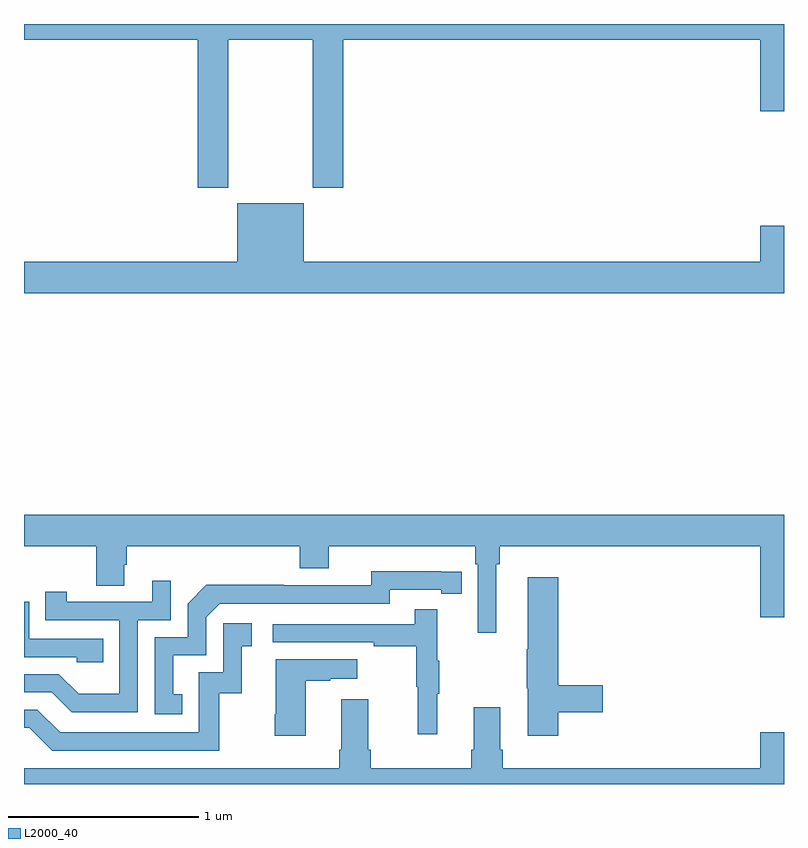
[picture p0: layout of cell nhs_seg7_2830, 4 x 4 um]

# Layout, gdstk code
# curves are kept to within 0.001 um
import gdstk
lib = gdstk.Library(unit=1e-6, precision=1e-09)
def P(c, l, *ps):  # polygons
    for p in ps: c.add(gdstk.Polygon(p, *l))
L2000_40 = (2000, 40)

nhs_seg7_2830 = lib.new_cell('nhs_seg7_2830')
P(nhs_seg7_2830, L2000_40, [(294.075,1033.916),(294.52,1033.916),(294.52,1033.137),(294.68,1033.137),(294.68,1033.916),(296.876,1033.916),(296.876,1033.542),(297,1033.542),(297,1034),(293,1034),(293,1033.916),(293.915,1033.916),(293.915,1033.137),(294.075,1033.137)],
  [(297,1032.937),(296.876,1032.937),(296.876,1032.748),(294.472,1032.748),(294.472,1033.057),(294.122,1033.057),(294.122,1032.748),(293,1032.748),(293,1032.584),(297,1032.584)],
  [(295.486,1031.156),(295.505,1031.156),(295.505,1031.252),(296.876,1031.252),(296.876,1030.878),(297,1030.878),(297,1031.416),(293,1031.416),(293,1031.252),(293.38,1031.252),(293.38,1031.044),(293.527,1031.044),(293.527,1031.154),(293.54,1031.154),(293.54,1031.252),(294.452,1031.252),(294.452,1031.135),(294.604,1031.135),(294.604,1031.252),(295.376,1031.252),(295.376,1031.156),(295.389,1031.156),(295.389,1030.797),(295.486,1030.797)],
  [(293.834,1030.473),(293.785,1030.473),(293.785,1030.677),(293.958,1030.677),(293.958,1030.878),(294.03,1030.95),(294.924,1030.95),(294.924,1031.022),(295.196,1031.022),(295.196,1031.002),(295.304,1031.002),(295.304,1031.118),(294.828,1031.119),(294.828,1031.046),(294.368,1031.046),(294.368,1031.048),(293.96,1031.048),(293.862,1030.95),(293.862,1030.773),(293.688,1030.773),(293.688,1030.368),(293.834,1030.368)],
  [(295.811,1030.378),(296.047,1030.378),(296.047,1030.52),(295.811,1030.52),(295.811,1031.089),(295.652,1031.089),(295.652,1030.709),(295.645,1030.709),(295.645,1030.503),(295.652,1030.503),(295.652,1030.254),(295.811,1030.254)],
  [(293.598,1030.863),(293.772,1030.863),(293.772,1031.071),(293.675,1031.071),(293.675,1030.959),(293.224,1030.959),(293.224,1031.011),(293.113,1031.011),(293.113,1030.863),(293.502,1030.863),(293.502,1030.474),(293.288,1030.474),(293.184,1030.578),(293,1030.578),(293,1030.482),(293.147,1030.482),(293.252,1030.377),(293.598,1030.377)],
  [(293.417,1030.764),(293.028,1030.764),(293.028,1030.959),(293,1030.959),(293,1030.668),(293.277,1030.668),(293.277,1030.641),(293.417,1030.641)],
  [(295.175,1030.475),(295.186,1030.475),(295.186,1030.649),(295.175,1030.649),(295.175,1030.921),(295.057,1030.921),(295.057,1030.842),(294.309,1030.842),(294.309,1030.746),(294.841,1030.746),(294.841,1030.726),(295.065,1030.726),(295.065,1030.512),(295.072,1030.512),(295.072,1030.263),(295.175,1030.263)],
  [(294.028,1030.478),(294.146,1030.478),(294.146,1030.725),(294.199,1030.725),(294.199,1030.846),(294.048,1030.846),(294.048,1030.587),(293.919,1030.587),(293.919,1030.272),(293.19,1030.272),(293.07,1030.392),(293,1030.392),(293,1030.296),(293.028,1030.296),(293.148,1030.176),(294.028,1030.176)],
  [(294.484,1030.543),(294.611,1030.543),(294.611,1030.553),(294.754,1030.553),(294.754,1030.657),(294.326,1030.657),(294.326,1030.366),(294.319,1030.366),(294.319,1030.254),(294.484,1030.254)],
  [(297,1030.273),(296.876,1030.273),(296.876,1030.084),(295.52,1030.084),(295.52,1030.18),(295.507,1030.18),(295.507,1030.405),(295.367,1030.405),(295.367,1030.18),(295.355,1030.18),(295.355,1030.084),(294.824,1030.084),(294.824,1030.18),(294.811,1030.18),(294.811,1030.447),(294.671,1030.447),(294.671,1030.18),(294.659,1030.18),(294.659,1030.084),(293,1030.084),(293,1030),(297,1030)])

lib.write_gds('nhs_seg7_2830.gds')
